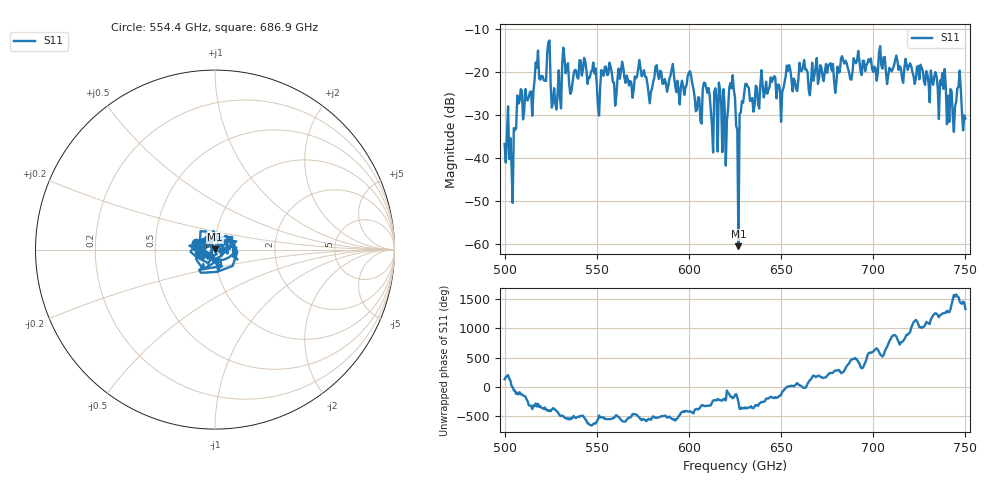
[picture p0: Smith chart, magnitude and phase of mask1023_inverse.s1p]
!Created with skrf (http://scikit-rf.org).
# GHz S MA R 50.0
!freq magS11 angS11
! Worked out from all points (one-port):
!   401 points, 500 GHz to 750 GHz, reference 50 ohm
!   lowest |S11| = -60.5 dB at 626.9 GHz (marker M1), VSWR 1.00, Z = 50 + j0.0942 ohm
!   |S11| at or under -10 dB: start of sweep to end of sweep
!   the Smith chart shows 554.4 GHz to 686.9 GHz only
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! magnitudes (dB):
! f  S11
! 500 GHz  -36.8
! 503.8 GHz  -41.9
! 508.1 GHz  -26.8
! 514.4 GHz  -24.6
! 517.5 GHz  -19.0
! 523.8 GHz  -13.1
! 526.9 GHz  -23.8
! 531.2 GHz  -18.0
! 548.1 GHz  -17.9
! 551.2 GHz  -30.2
! 562.5 GHz  -21.6
! 593.8 GHz  -22.1
! 600.6 GHz  -19.9
! 605.6 GHz  -26.0
! 609.4 GHz  -23.7
! 619.4 GHz  -28.0
! 623.1 GHz  -23.9
! 625 GHz  -26.0
! 625.6 GHz  -32.6
! 626.9 GHz  -60.5
! 631.2 GHz  -22.8
! 656.2 GHz  -24.6
! 687.5 GHz  -21.7
! 718.8 GHz  -19.6
! 737.5 GHz  -20.3
! 742.5 GHz  -24.5
! 746.2 GHz  -23.6
! 750 GHz  -30.9
